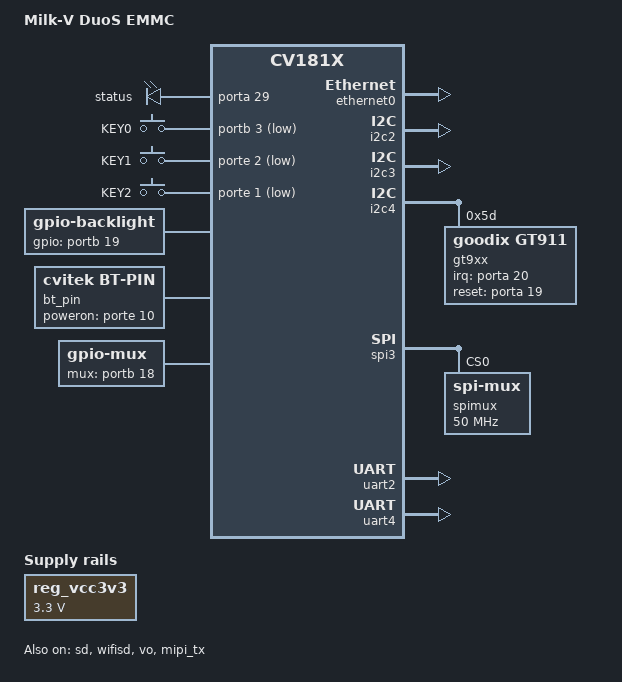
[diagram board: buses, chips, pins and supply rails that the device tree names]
/dts-v1/;
#include "cv181x_base_riscv.dtsi"
#include "cv181x_asic_bga.dtsi"
#include "cv181x_asic_emmc.dtsi"
#include "cv181x_default_memmap.dtsi"
#include <dt-bindings/gpio/gpio.h>

&mipi_rx{
	snsr-reset = <&porta 2 GPIO_ACTIVE_LOW>, <&porta 2 GPIO_ACTIVE_LOW>, <&porta 2 GPIO_ACTIVE_LOW>;
};

&ethernet0 {
	status = "okay";
	local-mac-address = [a4 51 29 00 00 b1];
};

&dac{
	/delete-property/ mute-gpio-l;
	/delete-property/ mute-gpio-r;
};

&i2c2 {
	status = "okay";
};

&i2c3 {
	status = "okay";
};

&i2c4 {
	status = "okay";

	gt9xx: gt9xx@5d {
		compatible = "goodix,gt911";
		reg = <0x5d>;
		interrupt-parent = <&porta>;
		interrupts = <20 IRQ_TYPE_EDGE_FALLING>;	// PA20
		irq-gpios = <&porta 20 IRQ_TYPE_LEVEL_LOW>;
		reset-gpios = <&porta 19 GPIO_ACTIVE_HIGH>;
		status = "okay";
	};
};

&spi3 {
	status = "okay";
	#address-cells = <1>;
	#size-cells = <0>;

	/delete-node/ spidev@0;

	spimux@0 {
		compatible = "spi-mux";
		reg = <0>;
		#address-cells = <1>;
		#size-cells = <0>;
		spi-max-frequency = <50000000>;

		mux-controls = <&mux>;

		display@0 {
			#address-cells = <1>;
			#size-cells = <0>;
			compatible = "ilitek,ili9341";
			reg = <0>;
			status = "okay";
			spi-max-frequency = <48000000>;
			rotation = <0>;
			fps = <30>;
			// spi-cpol;
			// spi-cpha;
			bgr;
			buswidth = <8>;

			dc = <&porta 28 GPIO_ACTIVE_HIGH>;
			reset = <&porta 18 GPIO_ACTIVE_HIGH>;

			debug = <0x0>;
			backlight = <&backlight>;
		};

		tsc2046@1 {
			#address-cells = <1>;
			#size-cells = <0>;
			reg = <1>;
			compatible = "ti,tsc2046";
			interrupt-parent = <&portb>;
			interrupts = <22 IRQ_TYPE_EDGE_FALLING>;	// PB22
			spi-max-frequency = <1000000>;
			pendown-gpio = <&portb 22 GPIO_ACTIVE_HIGH>;
			vcc-supply = <&reg_vcc3v3>;

			touchscreen-size-x = <240>;
			touchscreen-size-y = <320>;

			ti,x-min = /bits/ 16 <0>;
			ti,x-max = /bits/ 16 <320>;
			ti,y-min = /bits/ 16 <0>;
			ti,y-max = /bits/ 16 <240>;
			ti,x-plate-ohms = /bits/ 16 <40>;
			ti,pressure-max = /bits/ 16 <255>;

			wakeup-source;
			status = "okay";
		};
	};
};

&usb {
	vbus-gpio = <&portb 6 0>;
};

&sd {
	status = "okay";
};

&wifisd {
	status = "okay";
	cap-sd-highspeed;
	sd-uhs-sdr25;
	sd-uhs-ddr50;
	sd-uhs-sdr104;
	min-frequency = <400000>;
	max-frequency = <187500000>;
};

&wifi_pin {
	compatible = "cvitek,wifi-pin";
	poweron-gpio = <&porta 15 GPIO_ACTIVE_HIGH>;
	wakeup-gpio = <&porte 7 GPIO_ACTIVE_HIGH>;
};

&uart2 {
	status = "okay";
};

&uart4 {
	status = "okay";
};

/* mipi dsi for u-boot */
&vo {
	compatible = "cvitek,vo";
	reset-gpio = <&portb 2 GPIO_ACTIVE_LOW>;
	pwm-gpio = <&porte 0 GPIO_ACTIVE_HIGH>;
	// power-gpio = <&portb 1 GPIO_ACTIVE_HIGH>;
	status = "okay";
};

/* mipi dsi for kernel */
&mipi_tx {
	compatible = "cvitek,mipi_tx";
	reset-gpio = <&portb 2 GPIO_ACTIVE_LOW>;
	pwm-gpio = <&porte 0 GPIO_ACTIVE_HIGH>;
	power-ct-gpio = <&portb 1 GPIO_ACTIVE_HIGH>;
	status = "okay";
};

/ {
	model = "Milk-V DuoS EMMC";

	/delete-node/ spi0@04180000;
	/delete-node/ spi1@04190000;
	/delete-node/ spi2@041A0000;
	/delete-node/ i2c0@04000000;
	/delete-node/ i2c1@04010000;
	/delete-node/ uart1@04150000;
	/delete-node/ uart3@04170000;

	aliases {
		spi3 = &spi3;
	};

	leds {
		compatible = "gpio-leds";
		status = "okay";

		status {
			label = "status";
			gpios = <&porta 29 GPIO_ACTIVE_HIGH>; /* PA29 */
			linux,default-trigger = "heartbeat";
			status = "okay";
		};
	};

	gpio_keys {
		compatible = "gpio-keys";
		#address-cells = <1>;
		#size-cells = <0>;

		button@0 {
			debounce-interval = <50>;
			wakeup-source;
			linux,code = <115>;
			label = "KEY0";
			gpios = <&portb 3 GPIO_ACTIVE_LOW>;
		};

		button@1 {
			debounce-interval = <50>;
			wakeup-source;
			linux,code = <116>;
			label = "KEY1";
			gpios = <&porte 2 GPIO_ACTIVE_LOW>;
		};

		button@2 {
			debounce-interval = <50>;
			wakeup-source;
			linux,code = <117>;
			label = "KEY2";
			gpios = <&porte 1 GPIO_ACTIVE_LOW>;
		};
	};

	reg_vcc3v3: vcc3v3 {
		compatible = "regulator-fixed";
		regulator-name = "vcc3v3";
		regulator-min-microvolt = <3300000>;
		regulator-max-microvolt = <3300000>;
	};

	backlight: backlight {
		compatible = "gpio-backlight";
		gpios = <&portb 19 GPIO_ACTIVE_HIGH>; // PB19
		default-on;
	};

	bt_pin {
		compatible = "cvitek,bt-pin";
		poweron-gpio = <&porte 10 GPIO_ACTIVE_HIGH>;
	};

	mux: mux-controller {
        compatible = "gpio-mux";
        #mux-control-cells = <0>;

        mux-gpios = <&portb 18 GPIO_ACTIVE_HIGH>;
    };
};

